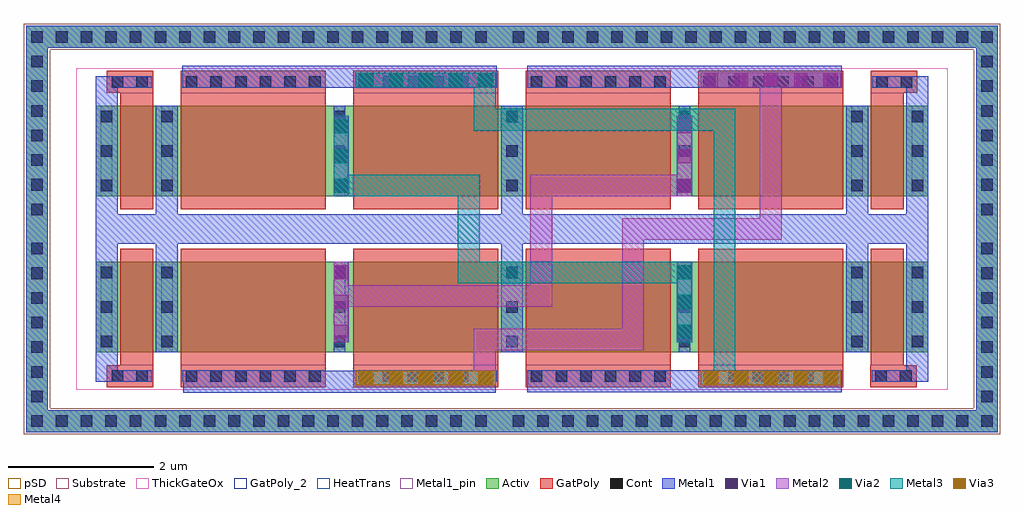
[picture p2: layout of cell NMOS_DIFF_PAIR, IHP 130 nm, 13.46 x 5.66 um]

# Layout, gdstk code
from math import pi, radians
import gdstk
lib = gdstk.Library(unit=1e-6, precision=1e-09)
def R(c, l, rs):  # rectangles x0, y0, x1, y1
    for r in rs: c.add(gdstk.rectangle(r[:2], r[2:], *l))
def A(c, l, x, y, w, h, nx, ny, dx, dy):  # array of equal rectangles
    R(c, l, [(x+i*dx, y+j*dy, x+i*dx+w, y+j*dy+h) for i in range(nx) for j in range(ny)])
def P(c, l, *ps):  # polygons
    for p in ps: c.add(gdstk.Polygon(p, *l))
Activ = (1, 0)
GatPoly = (5, 0)
GatPoly_2 = (5, 2)
Cont = (6, 0)
Metal1 = (8, 0)
Metal1_pin = (8, 2)
Metal2 = (10, 0)
pSD = (14, 0)
Via1 = (19, 0)
Via2 = (29, 0)
Metal3 = (30, 0)
Substrate = (40, 0)
ThickGateOx = (44, 0)
Via3 = (49, 0)
Metal4 = (50, 0)
HeatTrans = (51, 0)

via_stack_11 = lib.new_cell('via_stack$11')
R(via_stack_11, GatPoly, [(-0.32,-0.15,0.32,0.15)])
R(via_stack_11, Cont, [(-0.25,-0.08,-0.09,0.08), (0.09,-0.08,0.25,0.08)])
R(via_stack_11, Metal1, [(-0.3,-0.08,0.3,0.08)])

via_stack_4 = lib.new_cell('via_stack$4')
R(via_stack_4, GatPoly, [(-1,-0.15,1,0.15)])
A(via_stack_4, Cont, -0.93, -0.08, 0.16, 0.16, 6, 1, 0.34, 0)
R(via_stack_4, Metal1, [(-0.98,-0.08,0.98,0.08)])

via_stack_6 = lib.new_cell('via_stack$6')
R(via_stack_6, Metal1, [(-0.965,-0.105,0.965,0.105)])
R(via_stack_6, Metal2, [(-0.965,-0.1,0.965,0.1)])
A(via_stack_6, Via1, -0.915, -0.095, 0.19, 0.19, 5, 1, 0.41, 0)
A(via_stack_6, Via2, -0.915, -0.095, 0.19, 0.19, 5, 1, 0.41, 0)
R(via_stack_6, Metal3, [(-0.965,-0.1,0.965,0.1)])

via_stack_5 = lib.new_cell('via_stack$5')
R(via_stack_5, Metal1, [(-0.965,-0.105,0.965,0.105)])
R(via_stack_5, Metal2, [(-0.965,-0.1,0.965,0.1)])
A(via_stack_5, Via1, -0.915, -0.095, 0.19, 0.19, 5, 1, 0.41, 0)
A(via_stack_5, Via2, -0.915, -0.095, 0.19, 0.19, 5, 1, 0.41, 0)
R(via_stack_5, Metal3, [(-0.965,-0.1,0.965,0.1)])
A(via_stack_5, Via3, -0.915, -0.095, 0.19, 0.19, 5, 1, 0.41, 0)
R(via_stack_5, Metal4, [(-0.965,-0.1,0.965,0.1)])

via_stack = lib.new_cell('via_stack')
R(via_stack, Metal1, [(-0.105,-0.555,0.105,0.555)])
R(via_stack, Metal2, [(-0.1,-0.555,0.1,0.555)])
A(via_stack, Via1, -0.095, -0.505, 0.19, 0.19, 1, 3, 0, 0.41)

via_stack_12 = lib.new_cell('via_stack$12')
R(via_stack_12, GatPoly, [(-0.83,-0.15,0.83,0.15)])
A(via_stack_12, Cont, -0.76, -0.08, 0.16, 0.16, 5, 1, 0.34, 0)
R(via_stack_12, Metal1, [(-0.81,-0.08,0.81,0.08)])

via_stack_8 = lib.new_cell('via_stack$8')
R(via_stack_8, Metal1, [(-0.965,-0.105,0.965,0.105)])
R(via_stack_8, Metal2, [(-0.965,-0.1,0.965,0.1)])
A(via_stack_8, Via1, -0.915, -0.095, 0.19, 0.19, 5, 1, 0.41, 0)

guard_ring_2 = lib.new_cell('guard_ring$2')
R(guard_ring_2, Activ, [(-6.7,-2.5,-6.4,2.5), (6.4,-2.5,6.7,2.5), (-6.7,2.5,6.7,2.8)])
P(guard_ring_2, Activ, [(-6.7,-2.8),(-6.7,2.5),(-6.4,2.5),(-6.4,-2.5),(6.4,-2.5),(6.4,2.5),(-6.7,2.5),(-6.7,2.8),(6.7,2.8),(6.7,-2.8)])
A(guard_ring_2, Cont, -6.63, -2.73, 0.16, 0.16, 19, 2, 0.34, 5.3)
A(guard_ring_2, Cont, 0.01, -2.73, 0.16, 0.16, 20, 2, 0.34, 5.3)
A(guard_ring_2, Cont, -6.63, -2.39, 0.16, 0.16, 1, 7, 0, 0.34)
A(guard_ring_2, Cont, 6.47, -2.39, 0.16, 0.16, 1, 7, 0, 0.34)
A(guard_ring_2, Cont, -6.63, 0.19, 0.16, 0.16, 1, 7, 0, 0.34)
A(guard_ring_2, Cont, 6.47, 0.19, 0.16, 0.16, 1, 7, 0, 0.34)
R(guard_ring_2, Metal1, [(-6.7,-2.8,6.7,-2.5), (-6.7,-2.5,-6.4,2.5), (6.4,-2.5,6.7,2.5), (-6.7,2.5,6.7,2.8)])
R(guard_ring_2, pSD, [(-6.73,-2.47,-6.37,2.47), (6.37,-2.47,6.73,2.47), (-6.73,2.47,6.73,2.83)])
P(guard_ring_2, pSD, [(-6.73,-2.83),(-6.73,2.47),(-6.37,2.47),(-6.37,-2.47),(6.37,-2.47),(6.37,2.47),(-6.73,2.47),(-6.73,2.83),(6.73,2.83),(6.73,-2.83)])
R(guard_ring_2, Substrate, [(-6.73,-2.47,-6.37,2.47), (6.37,-2.47,6.73,2.47), (-6.73,2.47,6.73,2.83)])
P(guard_ring_2, Substrate, [(-6.73,-2.83),(-6.73,2.47),(-6.37,2.47),(-6.37,-2.47),(6.37,-2.47),(6.37,2.47),(-6.73,2.47),(-6.73,2.83),(6.73,2.83),(6.73,-2.83)])
guard_ring_2.add(gdstk.Label('sub!', (0,-2.65), layer=63, texttype=0))

via_stack_1 = lib.new_cell('via_stack$1')
R(via_stack_1, Metal1, [(-0.105,-0.555,0.105,0.555)])
R(via_stack_1, Metal2, [(-0.1,-0.555,0.1,0.555)])
A(via_stack_1, Via1, -0.095, -0.505, 0.19, 0.19, 1, 3, 0, 0.41)
A(via_stack_1, Via2, -0.095, -0.505, 0.19, 0.19, 1, 3, 0, 0.41)
R(via_stack_1, Metal3, [(-0.1,-0.555,0.1,0.555)])

nmoshv_2 = lib.new_cell('nmosHV$2')
A(nmoshv_2, Activ, 0, 0, 0.3, 0.3, 5, 1, 2.38, 0)
R(nmoshv_2, Activ, [(0,0,9.82,1.25)])
A(nmoshv_2, GatPoly, 0.34, -0.18, 2, 1.61, 4, 1, 2.38, 0)
R(nmoshv_2, GatPoly_2, [(0.34,-0.18,2.34,1.43)])
A(nmoshv_2, Cont, 0.07, 0.07, 0.16, 0.16, 5, 3, 2.38, 0.475)
A(nmoshv_2, Metal1, 0.07, 0, 0.16, 1.25, 5, 1, 2.38, 0)
R(nmoshv_2, Metal1_pin, [(0.07,0,0.23,1.25), (2.45,0,2.61,1.25)])
R(nmoshv_2, ThickGateOx, [(-0.27,-0.52,10.09,1.77)])
A(nmoshv_2, HeatTrans, 0.34, -0.18, 2, 1.61, 4, 1, 2.38, 0)
nmoshv_2.add(gdstk.Label('nmosHV', (1.34,0.625), layer=63, texttype=0))
nmoshv_2.add(gdstk.Label('nmosHV', (1.34,0.625), layer=51, texttype=0))
nmoshv_2.add(gdstk.Label('nmosHV', (3.72,0.625), layer=51, texttype=0))
nmoshv_2.add(gdstk.Label('nmosHV', (6.1,0.625), layer=51, texttype=0))
nmoshv_2.add(gdstk.Label('nmosHV', (8.48,0.625), layer=51, texttype=0))

nmoshv_1 = lib.new_cell('nmosHV$1')
R(nmoshv_1, Activ, [(0,0,0.3,0.3), (0,0,1.13,1.25), (0.83,0,1.13,0.3)])
R(nmoshv_1, GatPoly, [(0.34,-0.18,0.79,1.43)])
R(nmoshv_1, GatPoly_2, [(0.34,-0.18,0.79,1.43)])
A(nmoshv_1, Cont, 0.07, 0.07, 0.16, 0.16, 1, 3, 0, 0.475)
A(nmoshv_1, Cont, 0.9, 0.07, 0.16, 0.16, 1, 3, 0, 0.475)
R(nmoshv_1, Metal1, [(0.07,0,0.23,1.25), (0.9,0,1.06,1.25)])
R(nmoshv_1, Metal1_pin, [(0.07,0,0.23,1.25), (0.9,0,1.06,1.25)])
R(nmoshv_1, ThickGateOx, [(-0.27,-0.52,1.4,1.77)])
R(nmoshv_1, HeatTrans, [(0.34,-0.18,0.79,1.43)])
nmoshv_1.add(gdstk.Label('nmosHV', (0.565,0.625), layer=63, texttype=0))
nmoshv_1.add(gdstk.Label('nmosHV', (0.565,0.625), layer=51, texttype=0))

nmos_diff_pair = lib.new_cell('NMOS_DIFF_PAIR')
A(nmos_diff_pair, Metal1, 1.82, 1.13, 0.3, 1.5, 3, 2, 4.76, 1.9)
R(nmos_diff_pair, Metal1, [(2.195,0.575,6.505,0.875), (6.94,0.58,11.28,0.88), (0.99,0.72,1.29,1.13), (12.17,0.72,12.47,1.13), (0.99,1.13,1.29,2.63), (12.17,1.13,12.47,2.63), (0.99,2.63,12.47,3.03), (0.99,3.03,1.29,4.53), (12.17,3.03,12.47,4.53), (0.99,4.53,1.29,4.94), (12.17,4.53,12.47,4.94), (2.18,4.78,6.52,5.08), (4.56,4.78,6.52,4.99), (6.94,4.78,11.28,5.08), (9.32,4.78,11.28,4.99)])
R(nmos_diff_pair, Metal2, [(6.205,0.875,6.505,1.455), (6.505,1.155,8.55,1.455), (8.25,1.455,8.55,2.855), (4.475,1.755,6.985,2.055), (6.985,1.755,7.285,3.28), (8.25,2.68,10.45,2.98), (10.15,2.98,10.45,4.785), (6.985,3.28,9.01,3.58)])
R(nmos_diff_pair, Metal3, [(9.51,0.875,9.81,4.185), (6.205,4.185,6.505,4.785), (6.29,4.185,7.555,4.485), (7.555,4.185,9.81,4.485)])
P(nmos_diff_pair, Metal3, [(5.985,2.08),(5.985,3.28),(4.43,3.28),(4.43,3.58),(6.285,3.58),(6.285,2.38),(9.01,2.38),(9.01,2.08)])
nmos_diff_pair.add(gdstk.Reference(via_stack_11, (1.46,0.8), x_reflection=True))
nmos_diff_pair.add(gdstk.Reference(via_stack_4, (3.16,4.86)))
nmos_diff_pair.add(gdstk.Reference(via_stack_6, (5.54,4.885)))
nmos_diff_pair.add(gdstk.Reference(via_stack_5, (10.3,0.775), rotation=pi))
nmos_diff_pair.add(gdstk.Reference(via_stack, (9.11,3.835)))
nmos_diff_pair.add(gdstk.Reference(via_stack_4, (3.16,0.8)))
nmos_diff_pair.add(gdstk.Reference(via_stack_4, (5.54,0.8)))
nmos_diff_pair.add(gdstk.Reference(via_stack_5, (5.54,0.775), rotation=pi))
nmos_diff_pair.add(gdstk.Reference(via_stack_4, (10.3,4.86)))
nmos_diff_pair.add(gdstk.Reference(via_stack_12, (7.75,4.86)))
nmos_diff_pair.add(gdstk.Reference(via_stack_4, (10.3,4.86)))
nmos_diff_pair.add(gdstk.Reference(via_stack_8, (10.3,4.885)))
nmos_diff_pair.add(gdstk.Reference(guard_ring_2, (6.73,2.83)))
nmos_diff_pair.add(gdstk.Reference(via_stack, (4.375,1.825)))
nmos_diff_pair.add(gdstk.Reference(via_stack_4, (5.54,4.86)))
nmos_diff_pair.add(gdstk.Reference(via_stack_1, (9.11,1.825)))
nmos_diff_pair.add(gdstk.Reference(via_stack_1, (4.375,3.835)))
nmos_diff_pair.add(gdstk.Reference(nmoshv_2, (1.82,1.13)))
nmos_diff_pair.add(gdstk.Reference(nmoshv_1, (0.99,3.28)))
nmos_diff_pair.add(gdstk.Reference(nmoshv_1, (0.99,1.13)))
nmos_diff_pair.add(gdstk.Reference(nmoshv_1, (11.34,3.28)))
nmos_diff_pair.add(gdstk.Reference(nmoshv_1, (11.34,1.13)))
nmos_diff_pair.add(gdstk.Reference(nmoshv_2, (1.82,3.28)))
nmos_diff_pair.add(gdstk.Reference(via_stack_4, (5.54,4.86)))
nmos_diff_pair.add(gdstk.Reference(via_stack_4, (7.92,4.86)))
nmos_diff_pair.add(gdstk.Reference(via_stack_4, (10.3,4.86)))
nmos_diff_pair.add(gdstk.Reference(via_stack_4, (3.16,0.8)))
nmos_diff_pair.add(gdstk.Reference(via_stack_4, (5.54,0.8)))
nmos_diff_pair.add(gdstk.Reference(via_stack_4, (7.92,0.8)))
nmos_diff_pair.add(gdstk.Reference(via_stack_4, (10.3,0.8)))
nmos_diff_pair.add(gdstk.Reference(via_stack_11, (1.46,4.86)))
nmos_diff_pair.add(gdstk.Reference(via_stack_11, (12,4.86), rotation=pi, x_reflection=True))
nmos_diff_pair.add(gdstk.Reference(via_stack_11, (11.99,0.8), rotation=pi))

lib.write_gds('NMOS_DIFF_PAIR.gds')
